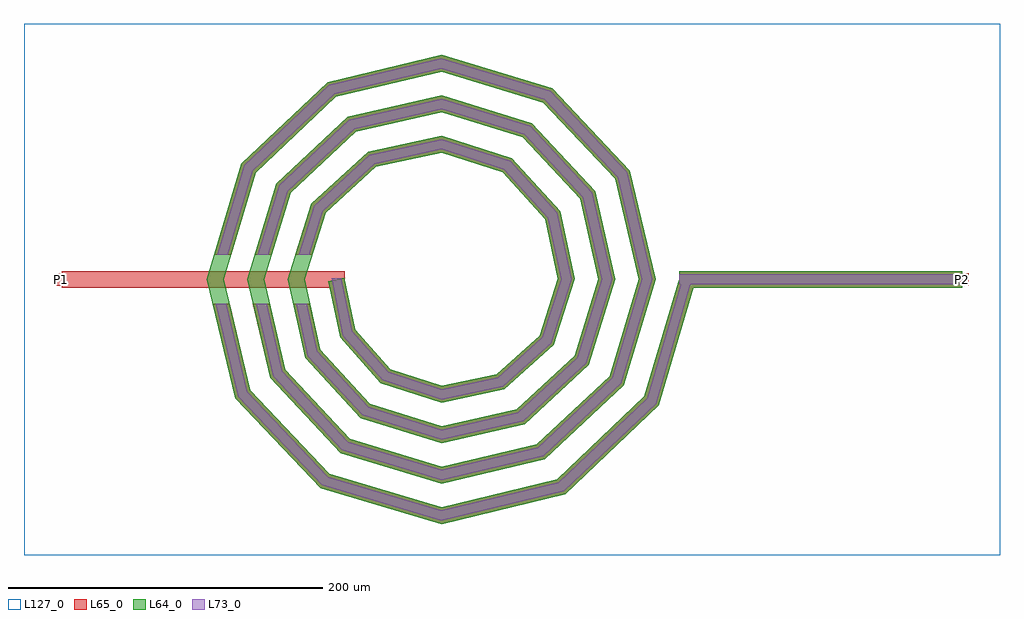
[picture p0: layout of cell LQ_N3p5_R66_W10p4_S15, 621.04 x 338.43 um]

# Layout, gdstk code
import gdstk
lib = gdstk.Library(unit=1e-6, precision=1e-09)
def R(c, l, rs):  # rectangles x0, y0, x1, y1
    for r in rs: c.add(gdstk.rectangle(r[:2], r[2:], *l))
def P(c, l, *ps):  # polygons
    for p in ps: c.add(gdstk.Polygon(p, *l))
L64_0 = (64, 0)
L65_0 = (65, 0)
L73_0 = (73, 0)
L127_0 = (127, 0)

lq_n3p5_r66_w10p4_s15 = lib.new_cell('LQ_N3p5_R66_W10p4_S15')
R(lq_n3p5_r66_w10p4_s15, L64_0, [(151.479,-5.2,331.479,5.2)])
P(lq_n3p5_r66_w10p4_s15, L64_0, [(-54.857,-32.032),(-32.57,-57.018),(0.294,-67.804),(35.219,-60.431),(62.567,-35.802),(74.226,0.27),(66.004,38.411),(39.032,68.118),(0.25,80.648),(-41.606,71.575),(-73.67,42.259),(-87.07,0.232),(-77.145,-44.802),(-45.484,-79.224),(0.217,-93.493),(48.001,-82.715),(84.779,-48.707),(99.915,0.204),(88.283,51.201),(51.929,90.335),(0.192,106.338),(-54.403,93.851),(-95.892,55.149),(-112.76,0.182),(-99.418,-57.605),(-58.369,-101.449),(0.173,-119.183),(60.809,-104.985),(107.007,-61.588),(125.606,0.164),(110.551,64.013),(64.806,112.565),(0.156,132.028),(-67.218,116.117),(-118.124,68.024),(-138.451,0.149),(-121.683,-70.424),(-71.241,-123.683),(0.143,-144.874),(73.63,-127.248),(129.242,-74.457),(151.692,1.474),(161.665,-1.474),(138.425,-80.08),(78.767,-136.711),(0.143,-155.638),(-76.874,-132.859),(-131.151,-75.55),(-149.214,0.149),(-127.293,73.668),(-72.333,125.592),(0.156,142.791),(70.463,121.727),(120.033,69.115),(136.368,0.164),(116.161,-67.258),(65.896,-114.475),(0.173,-129.945),(-64.054,-110.594),(-108.917,-62.677),(-123.522,0.182),(-105.026,60.851),(-59.456,103.359),(0.192,117.099),(57.649,99.458),(97.802,56.235),(110.675,0.204),(93.889,-54.448),(53.012,-92.246),(0.217,-104.252),(-51.248,-88.32),(-86.69,-49.788),(-97.829,0.232),(-82.749,48.05),(-46.562,81.135),(0.25,91.405),(44.854,77.177),(75.582,43.334),(84.981,0.27),(71.603,-41.66),(40.102,-70.03),(0.294,-78.557),(-38.47,-66.027),(-64.479,-36.867),(-71.851,-1.048),(-61.665,1.048)])
R(lq_n3p5_r66_w10p4_s15, L65_0, [(-241.558,-5.2,-61.558,5.2), (151.479,-5.2,331.479,5.2), (-245.558,-4,-237.558,4), (327.479,-4,335.479,4)])
P(lq_n3p5_r66_w10p4_s15, L65_0, [(-121.683,-70.424),(-71.241,-123.683),(0.143,-144.874),(73.63,-127.248),(129.242,-74.457),(151.692,1.474),(161.665,-1.474),(138.425,-80.08),(78.767,-136.711),(0.143,-155.638),(-76.874,-132.859),(-131.151,-75.55),(-145.456,-15.6),(-134.764,-15.6)],
  [(-99.418,-57.605),(-58.369,-101.449),(0.173,-119.183),(60.809,-104.985),(107.007,-61.588),(125.606,0.164),(110.551,64.013),(64.806,112.565),(0.157,132.028),(-67.218,116.117),(-118.124,68.024),(-133.755,15.6),(-144.608,15.6),(-127.293,73.668),(-72.333,125.592),(0.157,142.791),(70.463,121.727),(120.033,69.115),(136.368,0.164),(116.161,-67.258),(65.896,-114.475),(0.173,-129.945),(-64.054,-110.594),(-108.917,-62.677),(-119.855,-15.6),(-109.178,-15.6)],
  [(-77.146,-44.802),(-45.484,-79.224),(0.217,-93.493),(48.001,-82.715),(84.779,-48.707),(99.915,0.204),(88.283,51.201),(51.929,90.335),(0.192,106.338),(-54.403,93.851),(-95.892,55.149),(-107.949,15.6),(-118.822,15.6),(-105.026,60.851),(-59.456,103.359),(0.192,117.099),(57.649,99.458),(97.802,56.235),(110.675,0.204),(93.889,-54.448),(53.012,-92.246),(0.217,-104.252),(-51.248,-88.32),(-86.69,-49.788),(-94.303,-15.6),(-83.648,-15.6)],
  [(-32.57,-57.018),(0.294,-67.804),(35.219,-60.431),(62.567,-35.803),(74.226,0.27),(66.004,38.411),(39.032,68.118),(0.25,80.648),(-41.606,71.575),(-73.67,42.259),(-82.077,15.6),(-92.982,15.6),(-82.749,48.05),(-46.562,81.135),(0.25,91.405),(44.854,77.177),(75.582,43.334),(84.981,0.27),(71.603,-41.66),(40.102,-70.03),(0.294,-78.557),(-38.47,-66.027),(-64.48,-36.867),(-71.851,-1.048),(-61.665,1.048),(-54.857,-32.032)])
R(lq_n3p5_r66_w10p4_s15, L73_0, [(151.479,-3.2,331.479,3.2)])
P(lq_n3p5_r66_w10p4_s15, L73_0, [(-123.504,-71.41),(-72.324,-125.448),(0.088,-146.944),(74.618,-129.068),(131.008,-75.539),(153.61,0.907),(159.747,0.907),(136.659,-78.999),(77.779,-134.891),(0.088,-153.568),(-75.791,-131.095),(-129.33,-74.564),(-143.4,-15.6),(-136.821,-15.6)],
  [(-101.245,-58.581),(-59.462,-103.208),(0.106,-121.253),(61.787,-106.81),(108.767,-62.678),(127.675,0.101),(112.375,64.994),(65.894,114.327),(0.096,134.098),(-68.202,117.939),(-119.887,69.109),(-135.842,15.6),(-142.521,15.6),(-125.53,72.583),(-71.349,123.77),(0.096,140.722),(69.375,119.965),(118.21,68.134),(134.299,0.101),(114.4,-66.168),(64.918,-112.65),(0.106,-127.876),(-62.961,-108.835),(-107.09,-61.702),(-117.802,-15.6),(-111.231,-15.6)],
  [(-78.981,-45.761),(-46.592,-80.973),(0.134,-95.562),(48.965,-84.548),(86.531,-49.811),(101.985,0.126),(90.114,52.169),(53.029,92.09),(0.118,108.407),(-55.375,95.679),(-97.649,56.246),(-110.04,15.6),(-116.731,15.6),(-103.27,59.755),(-58.485,101.531),(0.118,115.029),(56.549,97.704),(95.972,55.267),(108.606,0.126),(92.137,-53.344),(52.049,-90.413),(0.134,-102.183),(-50.139,-86.57),(-84.855,-48.829),(-92.254,-15.6),(-85.697,-15.6)],
  [(-33.705,-58.75),(0.181,-69.872),(36.158,-62.277),(64.304,-36.929),(76.294,0.166),(67.846,39.358),(40.151,69.86),(0.154,82.717),(-42.559,73.414),(-75.416,43.372),(-84.175,15.6),(-90.885,15.6),(-81.003,46.936),(-45.609,79.297),(0.154,89.336),(43.734,75.435),(73.74,42.387),(82.913,0.166),(69.865,-40.534),(39.163,-68.184),(0.181,-76.489),(-37.335,-64.294),(-62.629,-35.937),(-69.892,0.645),(-63.624,0.645),(-56.707,-32.962)])
R(lq_n3p5_r66_w10p4_s15, L127_0, [(-265.558,-175.638,355.479,162.791)])
lq_n3p5_r66_w10p4_s15.add(gdstk.Label('P2', (331.479,0), layer=65, texttype=0))
lq_n3p5_r66_w10p4_s15.add(gdstk.Label('P1', (-241.558,0), layer=65, texttype=0))
lq_n3p5_r66_w10p4_s15.add(gdstk.Label('P2', (335.479,0), layer=145, texttype=0))
lq_n3p5_r66_w10p4_s15.add(gdstk.Label('P1', (-245.558,0), layer=145, texttype=0))

lib.write_gds('LQ_N3p5_R66_W10p4_S15.gds')
